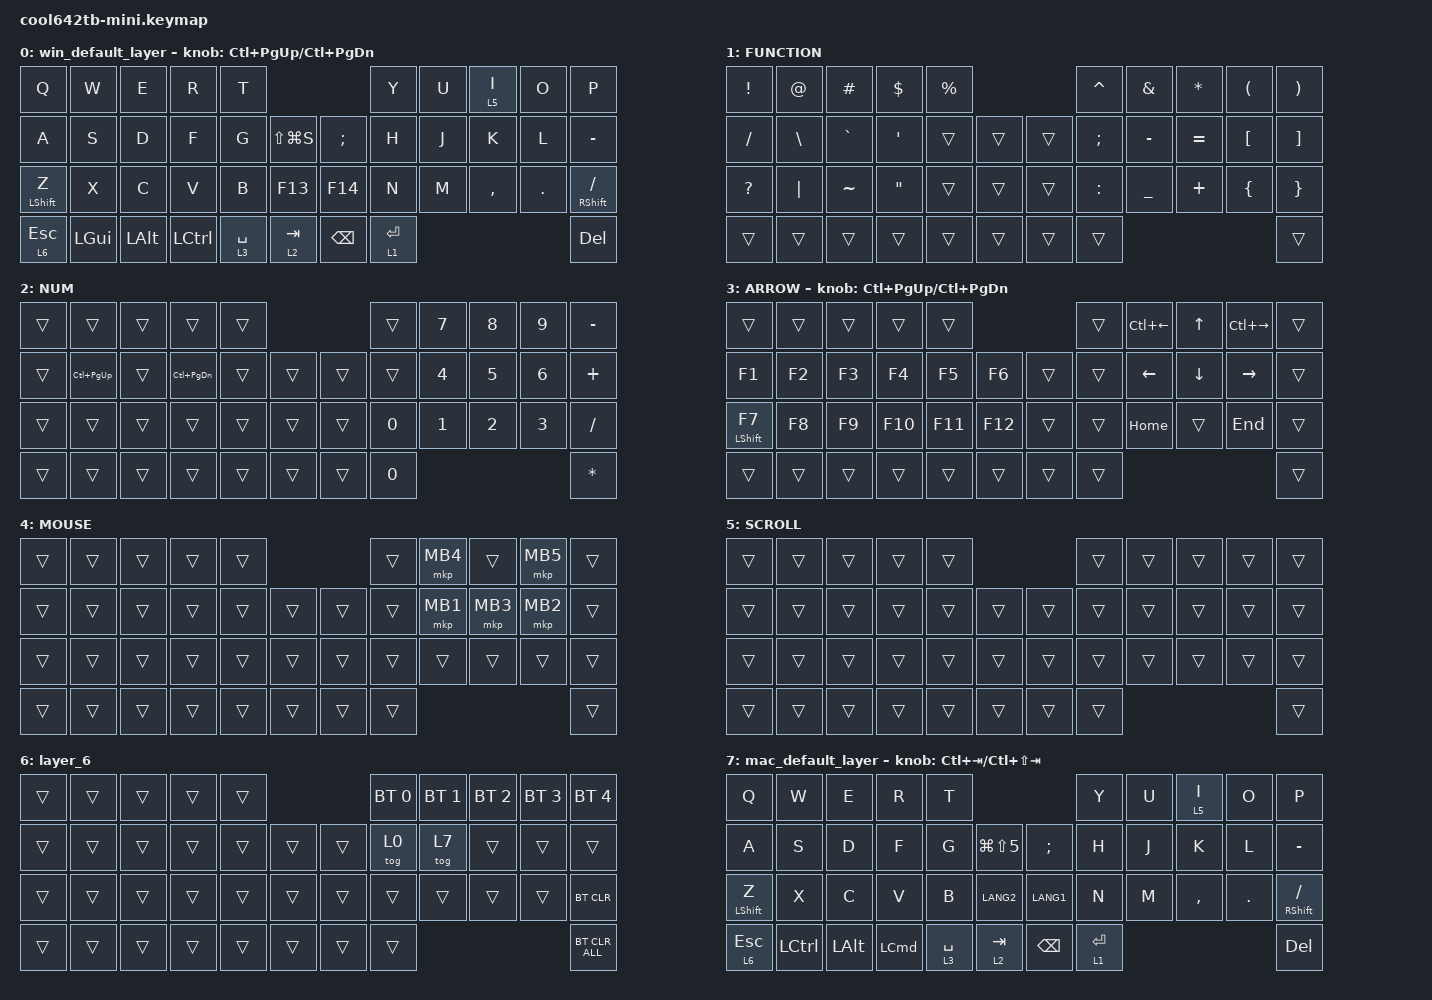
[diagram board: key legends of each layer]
#include <behaviors.dtsi>
#include <dt-bindings/zmk/bt.h>
#include <dt-bindings/zmk/keys.h>
#include <dt-bindings/zmk/pointing.h>

#define MOUSE 4
#define SCROLL 5
#define NUM 6
#define ZMK_POINTING_DEFAULT_SCRL_VAL 80

&mt {
    flavor = "balanced";
    quick-tap-ms = <0>;
};

/ {
    combos {
        compatible = "zmk,combos";

        tab {
            bindings = <&kp TAB>;
            key-positions = <10 11>;
        };

        esc {
            bindings = <&kp ESC>;
            key-positions = <0 1>;
        };
    };

    behaviors {
        encoder_msc_down_up: encoder_msc_down_up {
            compatible = "zmk,behavior-sensor-rotate";
            label = "ENCODER_MSC_DOWN_UP";
            #sensor-binding-cells = <0>;
            bindings = <&msc SCRL_UP>, <&msc SCRL_DOWN>;

            tap-ms = <20>;
        };
    };

    keymap {
        compatible = "zmk,keymap";

        win_default_layer {
            bindings = <
&kp Q             &kp W         &kp E         &kp R      &kp T                                          &kp Y        &kp U  &lt 5 I    &kp O    &kp P
&kp A             &kp S         &kp D         &kp F      &kp G        &kp LS(LG(S))      &kp SEMI       &kp H        &kp J  &kp K      &kp L    &kp MINUS
&mt LEFT_SHIFT Z  &kp X         &kp C         &kp V      &kp B        &kp F13            &kp F14        &kp N        &kp M  &kp COMMA  &kp DOT  &mt RIGHT_SHIFT SLASH
&lt 6 ESCAPE      &kp LEFT_GUI  &kp LEFT_ALT  &kp LCTRL  &lt 3 SPACE  &lt 2 TAB          &kp BACKSPACE  &lt 1 ENTER                             &kp DELETE
            >;

            sensor-bindings = <&inc_dec_kp LC(PAGE_UP) LC(PAGE_DOWN)>;
        };

        FUNCTION {
            bindings = <
&kp EXCL      &kp AT_SIGN    &kp HASH   &kp DOLLAR         &kp PRCNT                      &kp CARET  &kp AMPS   &kp STAR   &kp LEFT_PARENTHESIS  &kp RIGHT_PARENTHESIS
&kp SLASH     &kp BACKSLASH  &kp GRAVE  &kp SINGLE_QUOTE   &trans     &trans      &trans  &kp SEMI   &kp MINUS  &kp EQUAL  &kp LEFT_BRACKET      &kp RIGHT_BRACKET
&kp QUESTION  &kp PIPE       &kp TILDE  &kp DOUBLE_QUOTES  &trans     &trans      &trans  &kp COLON  &kp UNDER  &kp PLUS   &kp LEFT_BRACE        &kp RIGHT_BRACE
&trans        &trans         &trans     &trans             &trans     &trans      &trans  &trans                                                 &trans
            >;
        };

        NUM {
            bindings = <
&trans  &trans           &trans  &trans             &trans                      &trans        &kp N7  &kp N8  &kp N9  &kp MINUS
&trans  &kp LC(PAGE_UP)  &trans  &kp LC(PAGE_DOWN)  &trans  &trans      &trans  &trans        &kp N4  &kp N5  &kp N6  &kp PLUS
&trans  &trans           &trans  &trans             &trans  &trans      &trans  &kp N0        &kp N1  &kp N2  &kp N3  &kp SLASH
&trans  &trans           &trans  &trans             &trans  &trans      &trans  &kp NUMBER_0                          &kp STAR
            >;
        };

        ARROW {
            bindings = <
&trans             &trans  &trans  &trans   &trans                        &trans  &kp LC(LEFT_ARROW)  &kp UP_ARROW    &kp LC(RIGHT)    &trans
&kp F1             &kp F2  &kp F3  &kp F4   &kp F5   &kp F6       &trans  &trans  &kp LEFT_ARROW      &kp DOWN_ARROW  &kp RIGHT_ARROW  &trans
&mt LEFT_SHIFT F7  &kp F8  &kp F9  &kp F10  &kp F11  &kp F12      &trans  &trans  &kp HOME            &trans          &kp END          &trans
&trans             &trans  &trans  &trans   &trans   &trans       &trans  &trans                                                       &trans
            >;

            sensor-bindings = <&inc_dec_kp LC(PAGE_UP) LC(PAGE_DOWN)>;
        };

        MOUSE {
            bindings = <
&trans  &trans  &trans  &trans  &trans                      &trans  &mkp MB4  &trans    &mkp MB5  &trans
&trans  &trans  &trans  &trans  &trans  &trans      &trans  &trans  &mkp MB1  &mkp MB3  &mkp MB2  &trans
&trans  &trans  &trans  &trans  &trans  &trans      &trans  &trans  &trans    &trans    &trans    &trans
&trans  &trans  &trans  &trans  &trans  &trans      &trans  &trans                                &trans
            >;
        };

        SCROLL {
            bindings = <
&trans  &trans  &trans  &trans  &trans                      &trans  &trans  &trans  &trans  &trans
&trans  &trans  &trans  &trans  &trans  &trans      &trans  &trans  &trans  &trans  &trans  &trans
&trans  &trans  &trans  &trans  &trans  &trans      &trans  &trans  &trans  &trans  &trans  &trans
&trans  &trans  &trans  &trans  &trans  &trans      &trans  &trans                          &trans
            >;
        };

        layer_6 {
            bindings = <
&trans  &trans  &trans  &trans  &trans                      &bt BT_SEL 0  &bt BT_SEL 1  &bt BT_SEL 2  &bt BT_SEL 3  &bt BT_SEL 4
&trans  &trans  &trans  &trans  &trans  &trans      &trans  &tog 0        &tog 7        &trans        &trans        &trans
&trans  &trans  &trans  &trans  &trans  &trans      &trans  &trans        &trans        &trans        &trans        &bt BT_CLR
&trans  &trans  &trans  &trans  &trans  &trans      &trans  &trans                                                  &bt BT_CLR_ALL
            >;
        };

        mac_default_layer {
            bindings = <
&kp Q             &kp W             &kp E         &kp R             &kp T                                                 &kp Y        &kp U  &lt 5 I    &kp O    &kp P
&kp A             &kp S             &kp D         &kp F             &kp G        &kp LG(LS(NUMBER_5))      &kp SEMI       &kp H        &kp J  &kp K      &kp L    &kp MINUS
&mt LEFT_SHIFT Z  &kp X             &kp C         &kp V             &kp B        &kp LANG2                 &kp LANG1      &kp N        &kp M  &kp COMMA  &kp DOT  &mt RIGHT_SHIFT SLASH
&lt 6 ESCAPE      &kp LEFT_CONTROL  &kp LEFT_ALT  &kp LEFT_COMMAND  &lt 3 SPACE  &lt 2 TAB                 &kp BACKSPACE  &lt 1 ENTER                             &kp DELETE
            >;

            sensor-bindings = <&inc_dec_kp LC(TAB) LC(LS(TAB))>;
        };
    };
};
